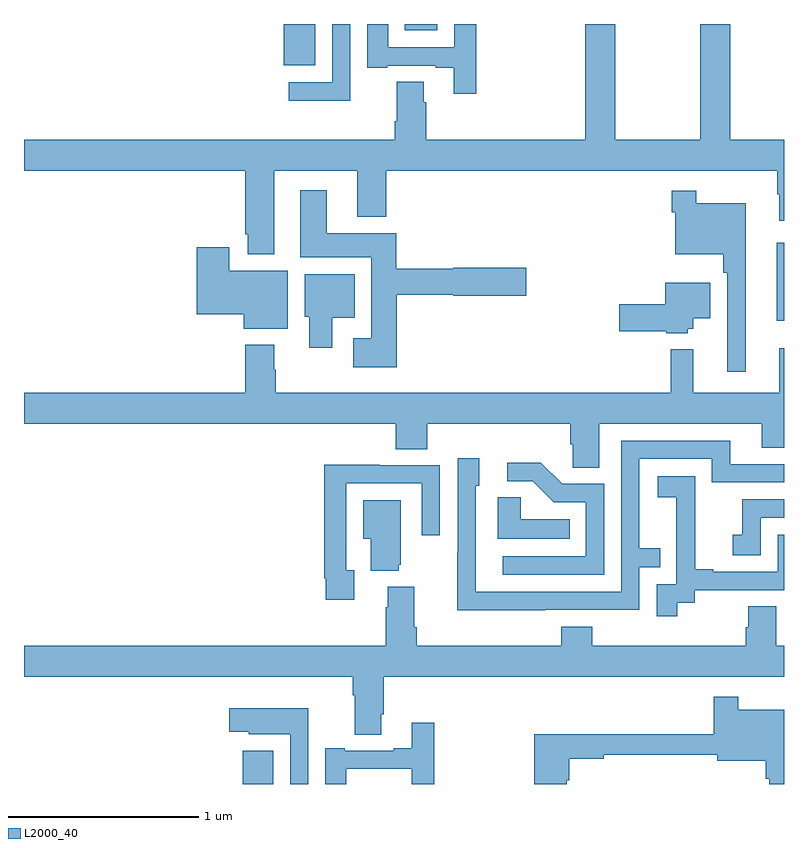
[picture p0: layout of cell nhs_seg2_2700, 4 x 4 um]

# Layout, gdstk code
import gdstk
lib = gdstk.Library(unit=1e-6, precision=1e-09)
def R(c, l, rs):  # rectangles x0, y0, x1, y1
    for r in rs: c.add(gdstk.rectangle(r[:2], r[2:], *l))
def P(c, l, *ps):  # polygons
    for p in ps: c.add(gdstk.Polygon(p, *l))
L2000_40 = (2000, 40)

nhs_seg2_2700 = lib.new_cell('nhs_seg2_2700')
R(nhs_seg2_2700, L2000_40, [(254.15,585.8,254.311,585.976), (256.961,588.239,257,588.649), (254.366,589.583,254.533,589.8), (255.005,589.766,255.175,589.8)])
P(nhs_seg2_2700, L2000_40, [(256.965,588.905),(256.976,588.905),(256.976,588.765),(257,588.765),(257,589.192),(256.718,589.192),(256.718,589.8),(256.558,589.8),(256.558,589.192),(256.113,589.192),(256.113,589.8),(255.953,589.8),(255.953,589.192),(255.116,589.192),(255.116,589.388),(255.103,589.388),(255.103,589.496),(254.963,589.496),(254.963,589.288),(254.951,589.288),(254.951,589.192),(253,589.192),(253,589.028),(254.165,589.028),(254.165,588.694),(254.177,588.694),(254.177,588.587),(254.317,588.587),(254.317,589.028),(254.753,589.028),(254.753,588.785),(254.906,588.785),(254.906,589.028),(256.965,589.028)],
  [(254.718,589.8),(254.622,589.8),(254.622,589.494),(254.394,589.494),(254.394,589.397),(254.718,589.397)],
  [(255.38,589.8),(255.264,589.8),(255.264,589.677),(254.917,589.677),(254.917,589.8),(254.807,589.8),(254.807,589.569),(254.911,589.569),(254.911,589.581),(255.167,589.581),(255.167,589.569),(255.263,589.569),(255.263,589.434),(255.38,589.434)],
  [(254.963,588.376),(255.258,588.376),(255.258,588.371),(255.643,588.371),(255.643,588.518),(255.258,588.518),(255.258,588.512),(254.958,588.512),(254.958,588.7),(254.593,588.7),(254.593,588.925),(254.453,588.925),(254.453,588.572),(254.828,588.572),(254.828,588.145),(254.733,588.145),(254.733,587.993),(254.963,587.993)],
  [(256.798,588.856),(256.537,588.856),(256.537,588.922),(256.408,588.922),(256.408,588.809),(256.428,588.809),(256.428,588.587),(256.681,588.587),(256.681,588.491),(256.701,588.491),(256.701,587.97),(256.798,587.97)],
  [(254.389,588.502),(254.08,588.502),(254.08,588.625),(253.91,588.625),(253.91,588.272),(254.156,588.272),(254.156,588.197),(254.389,588.197)],
  [(254.623,588.254),(254.74,588.254),(254.74,588.484),(254.477,588.484),(254.477,588.258),(254.501,588.258),(254.501,588.096),(254.623,588.096)],
  [(256.494,588.195),(256.522,588.195),(256.522,588.251),(256.612,588.251),(256.612,588.439),(256.376,588.439),(256.376,588.326),(256.134,588.326),(256.134,588.184),(256.38,588.184),(256.38,588.173),(256.494,588.173)],
  [(254.325,587.981),(254.317,587.981),(254.317,588.112),(254.165,588.112),(254.165,587.86),(253,587.86),(253,587.696),(254.957,587.696),(254.957,587.563),(255.122,587.563),(255.122,587.696),(255.875,587.696),(255.875,587.587),(255.888,587.587),(255.888,587.464),(256.027,587.464),(256.027,587.696),(256.883,587.696),(256.883,587.569),(257,587.569),(257,588.094),(256.976,588.094),(256.976,587.86),(256.523,587.86),(256.523,588.088),(256.405,588.088),(256.405,587.86),(254.325,587.86)],
  [(255.743,586.716),(256.239,586.716),(256.239,586.941),(256.349,586.941),(256.349,587.042),(256.239,587.042),(256.239,587.511),(256.62,587.511),(256.62,587.388),(257,587.388),(257,587.484),(256.717,587.484),(256.717,587.607),(256.143,587.607),(256.143,586.812),(255.378,586.812),(255.378,587.37),(255.397,587.37),(255.397,587.515),(255.282,587.515),(255.282,587.021),(255.28,587.021),(255.28,586.715),(255.743,586.715)],
  [(256.053,587.379),(255.834,587.379),(255.721,587.492),(255.543,587.492),(255.543,587.394),(255.677,587.394),(255.788,587.283),(255.957,587.283),(255.957,586.998),(255.519,586.998),(255.519,586.902),(256.053,586.902)],
  [(254.737,586.926),(254.697,586.926),(254.697,587.382),(255.093,587.382),(255.093,587.109),(255.189,587.109),(255.189,587.478),(254.873,587.478),(254.873,587.48),(254.581,587.48),(254.581,586.882),(254.589,586.882),(254.589,586.77),(254.737,586.77)],
  [(256.438,586.753),(256.53,586.753),(256.53,586.821),(257,586.821),(257,587.112),(256.968,587.112),(256.968,586.917),(256.627,586.917),(256.627,586.93),(256.532,586.93),(256.532,587.213),(256.533,587.213),(256.533,587.419),(256.335,587.419),(256.335,587.309),(256.433,587.309),(256.433,587.081),(256.434,587.081),(256.434,586.851),(256.329,586.851),(256.329,586.683),(256.438,586.683)],
  [(255.872,587.194),(255.615,587.194),(255.615,587.309),(255.494,587.309),(255.494,587.09),(255.872,587.09)],
  [(256.878,587.202),(257,587.202),(257,587.298),(256.779,587.298),(256.779,587.113),(256.731,587.113),(256.731,587.004),(256.878,587.004)],
  [(254.972,586.953),(254.983,586.953),(254.983,587.293),(254.786,587.293),(254.786,587.09),(254.825,587.09),(254.825,586.922),(254.972,586.922)],
  [(254.881,586.168),(254.894,586.168),(254.894,586.364),(257,586.364),(257,586.528),(256.959,586.528),(256.959,586.736),(256.811,586.736),(256.811,586.626),(256.799,586.626),(256.799,586.528),(255.992,586.528),(255.992,586.627),(255.827,586.627),(255.827,586.528),(255.068,586.528),(255.068,586.624),(255.055,586.624),(255.055,586.837),(254.915,586.837),(254.915,586.73),(254.903,586.73),(254.903,586.528),(253,586.528),(253,586.364),(254.729,586.364),(254.729,586.268),(254.741,586.268),(254.741,586.06),(254.881,586.06)],
  [(255.856,585.819),(255.869,585.819),(255.869,585.934),(256.052,585.934),(256.052,585.953),(256.649,585.953),(256.649,585.923),(256.903,585.923),(256.903,585.827),(256.923,585.827),(256.923,585.8),(257,585.8),(257,586.192),(256.759,586.192),(256.759,586.258),(256.63,586.258),(256.63,586.063),(255.686,586.063),(255.686,585.8),(255.856,585.8)],
  [(254.496,586.198),(254.079,586.198),(254.079,586.076),(254.184,586.076),(254.184,586.061),(254.4,586.061),(254.4,585.8),(254.496,585.8)],
  [(254.695,585.879),(255.042,585.879),(255.042,585.8),(255.158,585.8),(255.158,586.123),(255.041,586.123),(255.041,585.988),(254.945,585.988),(254.945,585.975),(254.689,585.975),(254.689,585.988),(254.585,585.988),(254.585,585.8),(254.695,585.8)])

lib.write_gds('nhs_seg2_2700.gds')
